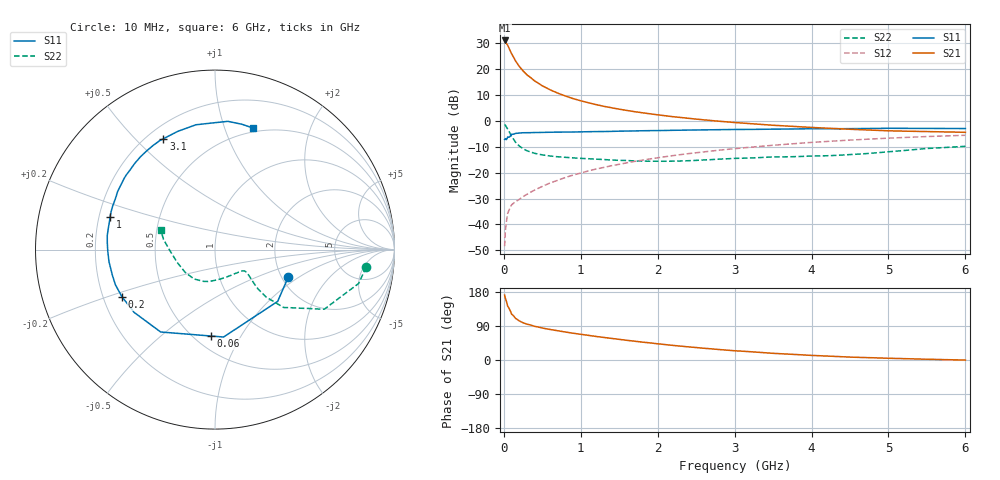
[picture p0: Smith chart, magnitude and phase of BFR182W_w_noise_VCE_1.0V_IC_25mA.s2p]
! Infineon Technologies  Discrete & RF Semiconductors
! BFR182W
! VCE =  1.0 V,  IC =  25 mA
! Common Emitter S-Parameters:  Jan 2017
# GHz  S  MA  R  50
!  f  S11  S21  S12  S22
! GHz  MAG  ANG  MAG  ANG  MAG  ANG  MAG  ANG
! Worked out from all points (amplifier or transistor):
!   77 points, 10 MHz to 6 GHz, reference 50 ohm
!   highest |S21| = 31.0 dB at 10 MHz (marker M1)
!   |S21| within 3 dB of that: start of sweep to 67.98 MHz
!   unconditionally stable (mu >= 1): 287.2 MHz to end of sweep
!   at 130 MHz: K = 0.64, MSG = 28.0 dB, |S12| = -31.7 dB
!   at 2.2 GHz: K = 1.14, MAG = 5.3 dB, |S12| = -13.4 dB
!   at 6 GHz: K = 1.06, MAG = -0.9 dB, |S12| = -5.6 dB
!   lowest NFmin = 1.56 dB at 450 MHz
!   S11 on the Smith chart (normalised r, x): 10 MHz: 2.16, -0.82; 60 MHz: 0.60, -0.75; 200 MHz: 0.28, -0.22; 1 GHz: 0.25, +0.14; 3.1 GHz: 0.26, +0.61; 6 GHz: 0.46, +1.26
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0.01  0.4361 -20.7  35.61 171.2  0.0038 80.3  0.8479 -6.6
0.02  0.4529 -39.6  34.8 163.1  0.0075 78.6  0.8221 -13.3
0.05  0.4894 -84.4  28.76 142.1  0.0162 62.0  0.6937 -28.6
0.06  0.482 -92.7  26.75 139.1  0.0177 59.6  0.6534 -30.4
0.1  0.5499 -123.4  19.83 121.3  0.0238 52.9  0.5008 -40.1
0.15  0.5705 -142.2  14.49 110.3  0.0274 50.7  0.3889 -42.9
0.2  0.5812 -153.1  11.27 103.3  0.0304 52.4  0.3269 -42.5
0.25  0.5884 -160.5  9.198 98.2  0.0344 54.4  0.2894 -41.0
0.3  0.5894 -165.9  7.731 94.7  0.0381 56.7  0.2645 -39.5
0.4  0.5945 -173.5  5.891 88.9  0.046 60.5  0.2357 -37.2
0.5  0.5975 -179.2  4.741 84.4  0.0541 63.1  0.22 -36.1
0.6  0.6013 176.3  3.981 80.6  0.063 64.9  0.2094 -35.7
0.7  0.6053 172.6  3.428 77.2  0.0711 66.5  0.2023 -35.9
0.8  0.6061 169.0  3.015 73.8  0.0805 67.6  0.1973 -36.9
1  0.6121 162.7  2.437 67.8  0.0982 68.2  0.1883 -39.7
1.1  0.6164 159.8  2.23 65.0  0.108 68.3  0.1854 -41.9
1.5  0.6313 149.4  1.678 54.5  0.1446 67.1  0.1726 -52.3
2.1  0.6514 135.3  1.252 40.7  0.2032 63.1  0.1656 -75.1
3.1  0.6814 115.0  0.905 23.2  0.2994 53.8  0.1896 -113.1
4.1  0.703 97.1  0.733 11.3  0.3911 42.8  0.2099 -146.6
5.1  0.7167 83.0  0.637 4.1  0.4695 31.3  0.2595 178.1
6  0.7095 72.5  0.6 -0.2  0.5263 21.1  0.322 160.0
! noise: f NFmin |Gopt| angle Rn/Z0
0.45  1.56  0.16  -169  0.15
0.9  1.65  0.17  -163  0.16
1.9  2.18  0.33  -138  0.18
2.4  2.46  0.34  -127  0.29
